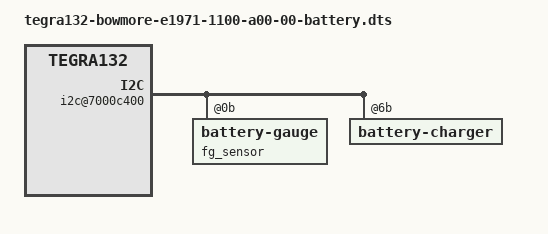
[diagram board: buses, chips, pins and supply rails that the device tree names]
#include "tegra132-bowmore-e1971-1100-a00-00.dts"

/ {
	nvidia,dtsfilename = __FILE__;

	i2c@7000c400 {
		fg_sensor: battery-gauge@0b {
			status = "okay";
		};

		battery-charger@6b {
			charger {
				status = "okay";
			};
		};
	};

	sysedp_batmon_calc {
		status = "okay";
	};

	thermal-zones {
		Battery {
			polling-delay = <0>; /* milliseconds */
			polling-delay-passive = <0>; /* milliseconds */
			thermal-sensors = <&fg_sensor>;
		};
	};
};

